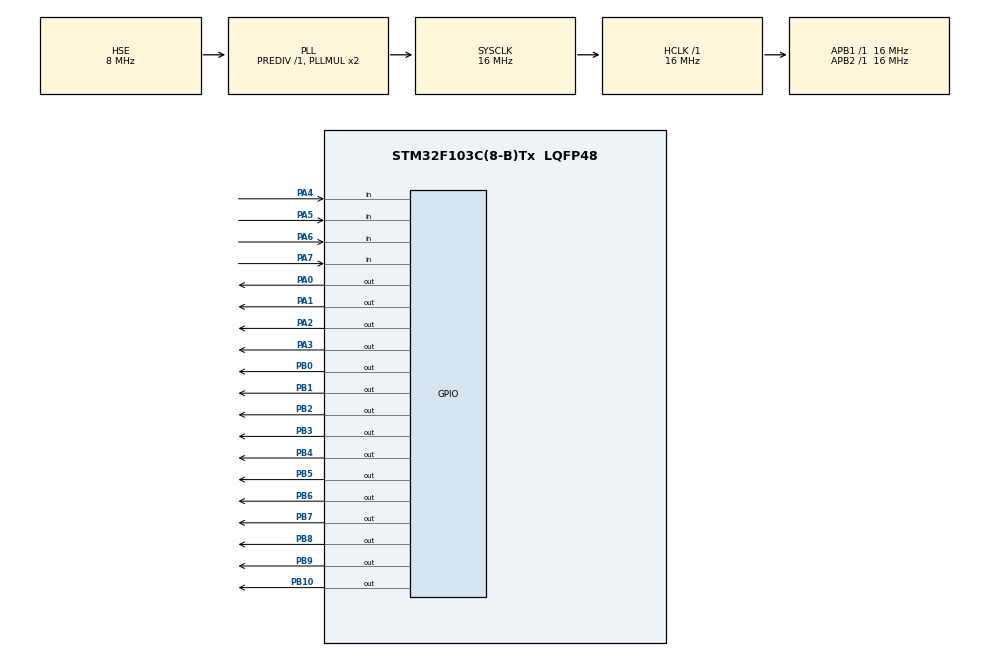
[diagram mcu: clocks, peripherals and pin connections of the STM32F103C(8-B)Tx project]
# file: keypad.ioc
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Mcu.Family=STM32F1
Mcu.Name=STM32F103C(8-B)Tx
Mcu.Package=LQFP48
NVIC.PriorityGroup=NVIC_PRIORITYGROUP_4
PA0-WKUP.PinState=GPIO_PIN_RESET
PA0-WKUP.Signal=GPIO_Output
PA1.PinState=GPIO_PIN_RESET
PA1.Signal=GPIO_Output
PA13.Mode=Serial_Wire
PA13.Signal=SYS_JTMS-SWDIO
PA14.Mode=Serial_Wire
PA14.Signal=SYS_JTCK-SWCLK
PA2.PinState=GPIO_PIN_RESET
PA2.Signal=GPIO_Output
PA3.PinState=GPIO_PIN_RESET
PA3.Signal=GPIO_Output
PA4.GPIO_PuPd=GPIO_PULLUP
PA4.Signal=GPIO_Input
PA5.GPIO_PuPd=GPIO_PULLUP
PA5.Signal=GPIO_Input
PA6.GPIO_PuPd=GPIO_PULLUP
PA6.Signal=GPIO_Input
PA7.GPIO_PuPd=GPIO_PULLUP
PA7.Signal=GPIO_Input
PB0.PinState=GPIO_PIN_RESET
PB0.Signal=GPIO_Output
PB1.PinState=GPIO_PIN_RESET
PB1.Signal=GPIO_Output
PB10.PinState=GPIO_PIN_RESET
PB10.Signal=GPIO_Output
PB2.PinState=GPIO_PIN_RESET
PB2.Signal=GPIO_Output
PB3.PinState=GPIO_PIN_RESET
PB3.Signal=GPIO_Output
PB4.PinState=GPIO_PIN_RESET
PB4.Signal=GPIO_Output
PB5.PinState=GPIO_PIN_RESET
PB5.Signal=GPIO_Output
PB6.PinState=GPIO_PIN_RESET
PB6.Signal=GPIO_Output
PB7.PinState=GPIO_PIN_RESET
PB7.Signal=GPIO_Output
PB8.PinState=GPIO_PIN_RESET
PB8.Signal=GPIO_Output
PB9.PinState=GPIO_PIN_RESET
PB9.Signal=GPIO_Output
PD0-OSC_IN.Mode=HSE-External-Oscillator
PD0-OSC_IN.Signal=RCC_OSC_IN
PD1-OSC_OUT.Mode=HSE-External-Oscillator
PD1-OSC_OUT.Signal=RCC_OSC_OUT
ProjectManager.HeapSize=0x200
ProjectManager.StackSize=0x400
ProjectManager.TargetToolchain=MDK-ARM V5.32
RCC.AHBFreq_Value=16000000
RCC.APB1Freq_Value=16000000
RCC.APB1TimFreq_Value=16000000
RCC.APB2Freq_Value=16000000
RCC.APB2TimFreq_Value=16000000
RCC.HCLKFreq_Value=16000000
RCC.PLLSourceVirtual=RCC_PLLSOURCE_HSE
RCC.SYSCLKFreq_VALUE=16000000
RCC.SYSCLKSource=RCC_SYSCLKSOURCE_PLLCLK
RCC.USBFreq_Value=16000000
board=custom

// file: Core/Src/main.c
/* USER CODE BEGIN Header */
/**
  ******************************************************************************
  * @file           : main.c
  * @brief          : Main program body
  ******************************************************************************
  * @attention
  *
  * Copyright (c) 2025 STMicroelectronics.
  * All rights reserved.
  *
  * This software is licensed under terms that can be found in the LICENSE file
  * in the root directory of this software component.
  * If no LICENSE file comes with this software, it is provided AS-IS.
  *
  ******************************************************************************
  */
/* USER CODE END Header */
#include "main.h"
#include "gpio.h"

/* USER CODE BEGIN Includes */
#include "lcd.h"

/* USER CODE END Includes */

/* USER CODE BEGIN PTD */
char keypad[4][4]={{'7','8','9','/'},
									 {'4','5','6','*'},
									 {'1','2','3','-'},
									 {'c','0','=','+'}};
char str[2];
/* USER CODE END PTD */

void SystemClock_Config(void);

/* USER CODE BEGIN 0 */
void get_key(){
		int row =0,col =0;
		char key=0;
		if(HAL_GPIO_ReadPin(GPIOA,GPIO_PIN_4)==0){ col = 0;
				 HAL_GPIO_WritePin(GPIOA,GPIO_PIN_0,GPIO_PIN_SET);
				 HAL_GPIO_WritePin(GPIOA,GPIO_PIN_1,GPIO_PIN_SET);
			   HAL_GPIO_WritePin(GPIOA,GPIO_PIN_2,GPIO_PIN_SET);
			   HAL_GPIO_WritePin(GPIOA,GPIO_PIN_3,GPIO_PIN_RESET);
				 if(HAL_GPIO_ReadPin(GPIOA,GPIO_PIN_4)==0){row=3;}

				 HAL_GPIO_WritePin(GPIOA,GPIO_PIN_0,GPIO_PIN_SET);
				 HAL_GPIO_WritePin(GPIOA,GPIO_PIN_1,GPIO_PIN_SET);
			   HAL_GPIO_WritePin(GPIOA,GPIO_PIN_2,GPIO_PIN_RESET);
			   HAL_GPIO_WritePin(GPIOA,GPIO_PIN_3,GPIO_PIN_SET);
				 if(HAL_GPIO_ReadPin(GPIOA,GPIO_PIN_4)==0){row=2;}

				 HAL_GPIO_WritePin(GPIOA,GPIO_PIN_0,GPIO_PIN_SET);
				 HAL_GPIO_WritePin(GPIOA,GPIO_PIN_1,GPIO_PIN_RESET);
			   HAL_GPIO_WritePin(GPIOA,GPIO_PIN_2,GPIO_PIN_SET);
			   HAL_GPIO_WritePin(GPIOA,GPIO_PIN_3,GPIO_PIN_SET);
				 if(HAL_GPIO_ReadPin(GPIOA,GPIO_PIN_4)==0){row=1;}

				 HAL_GPIO_WritePin(GPIOA,GPIO_PIN_0,GPIO_PIN_RESET);
				 HAL_GPIO_WritePin(GPIOA,GPIO_PIN_1,GPIO_PIN_SET);
			   HAL_GPIO_WritePin(GPIOA,GPIO_PIN_2,GPIO_PIN_SET);
			   HAL_GPIO_WritePin(GPIOA,GPIO_PIN_3,GPIO_PIN_SET);
				 if(HAL_GPIO_ReadPin(GPIOA,GPIO_PIN_4)==0){row=0;}

				 key=keypad[row][col];
			 }
		if(HAL_GPIO_ReadPin(GPIOA,GPIO_PIN_5)==0){ col = 1;
				 HAL_GPIO_WritePin(GPIOA,GPIO_PIN_0,GPIO_PIN_SET);
				 HAL_GPIO_WritePin(GPIOA,GPIO_PIN_1,GPIO_PIN_SET);
			   HAL_GPIO_WritePin(GPIOA,GPIO_PIN_2,GPIO_PIN_SET);
			   HAL_GPIO_WritePin(GPIOA,GPIO_PIN_3,GPIO_PIN_RESET);
				 if(HAL_GPIO_ReadPin(GPIOA,GPIO_PIN_5)==0){row=3;}

				 HAL_GPIO_WritePin(GPIOA,GPIO_PIN_0,GPIO_PIN_SET);
				 HAL_GPIO_WritePin(GPIOA,GPIO_PIN_1,GPIO_PIN_SET);
			   HAL_GPIO_WritePin(GPIOA,GPIO_PIN_2,GPIO_PIN_RESET);
			   HAL_GPIO_WritePin(GPIOA,GPIO_PIN_3,GPIO_PIN_SET);
				 if(HAL_GPIO_ReadPin(GPIOA,GPIO_PIN_5)==0){row=2;}

				 HAL_GPIO_WritePin(GPIOA,GPIO_PIN_0,GPIO_PIN_SET);
				 HAL_GPIO_WritePin(GPIOA,GPIO_PIN_1,GPIO_PIN_RESET);
			   HAL_GPIO_WritePin(GPIOA,GPIO_PIN_2,GPIO_PIN_SET);
			   HAL_GPIO_WritePin(GPIOA,GPIO_PIN_3,GPIO_PIN_SET);
				 if(HAL_GPIO_ReadPin(GPIOA,GPIO_PIN_5)==0){row=1;}

				 HAL_GPIO_WritePin(GPIOA,GPIO_PIN_0,GPIO_PIN_RESET);
				 HAL_GPIO_WritePin(GPIOA,GPIO_PIN_1,GPIO_PIN_SET);
			   HAL_GPIO_WritePin(GPIOA,GPIO_PIN_2,GPIO_PIN_SET);
			   HAL_GPIO_WritePin(GPIOA,GPIO_PIN_3,GPIO_PIN_SET);
				 if(HAL_GPIO_ReadPin(GPIOA,GPIO_PIN_5)==0){row=0;}

				 key=keypad[row][col];
			 }
		if(HAL_GPIO_ReadPin(GPIOA,GPIO_PIN_6)==0){ col = 2;
				 HAL_GPIO_WritePin(GPIOA,GPIO_PIN_0,GPIO_PIN_SET);
				 HAL_GPIO_WritePin(GPIOA,GPIO_PIN_1,GPIO_PIN_SET);
			   HAL_GPIO_WritePin(GPIOA,GPIO_PIN_2,GPIO_PIN_SET);
			   HAL_GPIO_WritePin(GPIOA,GPIO_PIN_3,GPIO_PIN_RESET);
				 if(HAL_GPIO_ReadPin(GPIOA,GPIO_PIN_6)==0){row=3;}

				 HAL_GPIO_WritePin(GPIOA,GPIO_PIN_0,GPIO_PIN_SET);
				 HAL_GPIO_WritePin(GPIOA,GPIO_PIN_1,GPIO_PIN_SET);
			   HAL_GPIO_WritePin(GPIOA,GPIO_PIN_2,GPIO_PIN_RESET);
			   HAL_GPIO_WritePin(GPIOA,GPIO_PIN_3,GPIO_PIN_SET);
				 if(HAL_GPIO_ReadPin(GPIOA,GPIO_PIN_6)==0){row=2;}

				 HAL_GPIO_WritePin(GPIOA,GPIO_PIN_0,GPIO_PIN_SET);
				 HAL_GPIO_WritePin(GPIOA,GPIO_PIN_1,GPIO_PIN_RESET);
			   HAL_GPIO_WritePin(GPIOA,GPIO_PIN_2,GPIO_PIN_SET);
			   HAL_GPIO_WritePin(GPIOA,GPIO_PIN_3,GPIO_PIN_SET);
				 if(HAL_GPIO_ReadPin(GPIOA,GPIO_PIN_6)==0){row=1;}

				 HAL_GPIO_WritePin(GPIOA,GPIO_PIN_0,GPIO_PIN_RESET);
				 HAL_GPIO_WritePin(GPIOA,GPIO_PIN_1,GPIO_PIN_SET);
			   HAL_GPIO_WritePin(GPIOA,GPIO_PIN_2,GPIO_PIN_SET);
			   HAL_GPIO_WritePin(GPIOA,GPIO_PIN_3,GPIO_PIN_SET);
				 if(HAL_GPIO_ReadPin(GPIOA,GPIO_PIN_6)==0){row=0;}

				 key=keypad[row][col];
			 }
		if(HAL_GPIO_ReadPin(GPIOA,GPIO_PIN_7)==0){ col = 3;
				 HAL_GPIO_WritePin(GPIOA,GPIO_PIN_0,GPIO_PIN_SET);
				 HAL_GPIO_WritePin(GPIOA,GPIO_PIN_1,GPIO_PIN_SET);
			   HAL_GPIO_WritePin(GPIOA,GPIO_PIN_2,GPIO_PIN_SET);
			   HAL_GPIO_WritePin(GPIOA,GPIO_PIN_3,GPIO_PIN_RESET);
				 if(HAL_GPIO_ReadPin(GPIOA,GPIO_PIN_7)==0){row=3;}

				 HAL_GPIO_WritePin(GPIOA,GPIO_PIN_0,GPIO_PIN_SET);
				 HAL_GPIO_WritePin(GPIOA,GPIO_PIN_1,GPIO_PIN_SET);
			   HAL_GPIO_WritePin(GPIOA,GPIO_PIN_2,GPIO_PIN_RESET);
			   HAL_GPIO_WritePin(GPIOA,GPIO_PIN_3,GPIO_PIN_SET);
				 if(HAL_GPIO_ReadPin(GPIOA,GPIO_PIN_7)==0){row=2;}

				 HAL_GPIO_WritePin(GPIOA,GPIO_PIN_0,GPIO_PIN_SET);
				 HAL_GPIO_WritePin(GPIOA,GPIO_PIN_1,GPIO_PIN_RESET);
			   HAL_GPIO_WritePin(GPIOA,GPIO_PIN_2,GPIO_PIN_SET);
			   HAL_GPIO_WritePin(GPIOA,GPIO_PIN_3,GPIO_PIN_SET);
				 if(HAL_GPIO_ReadPin(GPIOA,GPIO_PIN_7)==0){row=1;}

				 HAL_GPIO_WritePin(GPIOA,GPIO_PIN_0,GPIO_PIN_RESET);
				 HAL_GPIO_WritePin(GPIOA,GPIO_PIN_1,GPIO_PIN_SET);
			   HAL_GPIO_WritePin(GPIOA,GPIO_PIN_2,GPIO_PIN_SET);
			   HAL_GPIO_WritePin(GPIOA,GPIO_PIN_3,GPIO_PIN_SET);
				 if(HAL_GPIO_ReadPin(GPIOA,GPIO_PIN_7)==0){row=0;}

				 key=keypad[row][col];
			 }
		HAL_GPIO_WritePin(GPIOA,GPIO_PIN_0,GPIO_PIN_RESET);
		HAL_GPIO_WritePin(GPIOA,GPIO_PIN_1,GPIO_PIN_RESET);
	  HAL_GPIO_WritePin(GPIOA,GPIO_PIN_2,GPIO_PIN_RESET);
	  HAL_GPIO_WritePin(GPIOA,GPIO_PIN_3,GPIO_PIN_RESET);
	  if(key!=0){
			str[0]=key;
			str[1]='\0';
			lcd_puts(str);
		}
}
/* USER CODE END 0 */

int main(void)
{

  /* MCU Configuration--------------------------------------------------------*/

  /* Reset of all peripherals, Initializes the Flash interface and the Systick. */
  HAL_Init();

  /* Configure the system clock */
  SystemClock_Config();

  /* Initialize all configured peripherals */
  MX_GPIO_Init();

  /* Infinite loop */
  /* USER CODE BEGIN WHILE */
		lcd_init();
		lcd_puts("mohammad");

  while (1)
  {
    /* USER CODE END WHILE */

	if(HAL_GPIO_ReadPin(GPIOA,GPIO_PIN_4)==0 ||
		 HAL_GPIO_ReadPin(GPIOA,GPIO_PIN_5)==0 ||
		 HAL_GPIO_ReadPin(GPIOA,GPIO_PIN_6)==0 ||
		 HAL_GPIO_ReadPin(GPIOA,GPIO_PIN_7)==0){
			 get_key();
			 while(HAL_GPIO_ReadPin(GPIOA,GPIO_PIN_4)==0 ||
					HAL_GPIO_ReadPin(GPIOA,GPIO_PIN_5)==0 ||
					HAL_GPIO_ReadPin(GPIOA,GPIO_PIN_6)==0 ||
					HAL_GPIO_ReadPin(GPIOA,GPIO_PIN_7)==0){}
		 }

  }
}

void SystemClock_Config(void)
{
  RCC_OscInitTypeDef RCC_OscInitStruct = {0};
  RCC_ClkInitTypeDef RCC_ClkInitStruct = {0};

  /** Initializes the RCC Oscillators according to the specified parameters
  * in the RCC_OscInitTypeDef structure.
  */
  RCC_OscInitStruct.OscillatorType = RCC_OSCILLATORTYPE_HSE;
  RCC_OscInitStruct.HSEState = RCC_HSE_ON;
  RCC_OscInitStruct.HSEPredivValue = RCC_HSE_PREDIV_DIV1;
  RCC_OscInitStruct.HSIState = RCC_HSI_ON;
  RCC_OscInitStruct.PLL.PLLState = RCC_PLL_ON;
  RCC_OscInitStruct.PLL.PLLSource = RCC_PLLSOURCE_HSE;
  RCC_OscInitStruct.PLL.PLLMUL = RCC_PLL_MUL2;
  if (HAL_RCC_OscConfig(&RCC_OscInitStruct) != HAL_OK)
  {
    Error_Handler();
  }

  /** Initializes the CPU, AHB and APB buses clocks
  */
  RCC_ClkInitStruct.ClockType = RCC_CLOCKTYPE_HCLK|RCC_CLOCKTYPE_SYSCLK
                              |RCC_CLOCKTYPE_PCLK1|RCC_CLOCKTYPE_PCLK2;
  RCC_ClkInitStruct.SYSCLKSource = RCC_SYSCLKSOURCE_PLLCLK;
  RCC_ClkInitStruct.AHBCLKDivider = RCC_SYSCLK_DIV1;
  RCC_ClkInitStruct.APB1CLKDivider = RCC_HCLK_DIV1;
  RCC_ClkInitStruct.APB2CLKDivider = RCC_HCLK_DIV1;

  if (HAL_RCC_ClockConfig(&RCC_ClkInitStruct, FLASH_LATENCY_0) != HAL_OK)
  {
    Error_Handler();
  }
}

void Error_Handler(void)
{
  __disable_irq();
  while (1)
  {
  }
}
